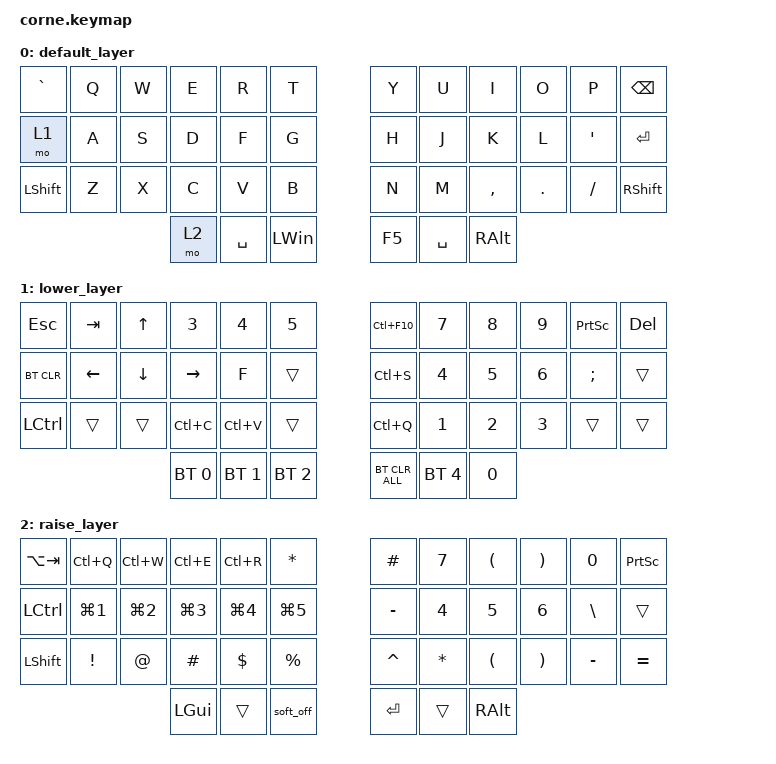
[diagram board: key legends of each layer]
/*
 * Copyright (c) 2020 The ZMK Contributors
 *
 * SPDX-License-Identifier: MIT
 */

#include <behaviors.dtsi>
#include <dt-bindings/zmk/bt.h>
#include <dt-bindings/zmk/keys.h>

/ {
    keymap {
        compatible = "zmk,keymap";

        default_layer {
            // -----------------------------------------------------------------------------------------
            // |  ` |  Q  |  W  |  E  |  R  |  T  |   |  Y  |  U   |  I  |  O  |  P  | BKSP |
            // | cmd1 |  A  |  S  |  D  |  F  |  G  |   |  H  |  J   |  K  |  L  |  '  |  ENT   |
            // | SHFT |  Z  |  X  |  C  |  V  |  B  |   |  N  |  M   |  ,  |  .  |  /  | SHFT  |
            //                    | cmd2 | SPC | WIN |   | F5 | SPC  | ALT |

            bindings = <
&kp GRAVE  &kp Q  &kp W  &kp E  &kp R      &kp T       &kp Y   &kp U      &kp I      &kp O    &kp P     &kp BSPC
&mo 1      &kp A  &kp S  &kp D  &kp F      &kp G       &kp H   &kp J      &kp K      &kp L    &kp SQT   &kp RET
&kp LSHFT  &kp Z  &kp X  &kp C  &kp V      &kp B       &kp N   &kp M      &kp COMMA  &kp DOT  &kp FSLH  &kp RSHFT
                         &mo 2  &kp SPACE  &kp LWIN    &kp F5  &kp SPACE  &kp RALT
            >;
        };

        lower_layer {
            // -----------------------------------------------------------------------------------------
            // |  ESC |  TAB  |  UP  |  3  |  4  |  5  |   |  LC(F10)  |  7  |  8  |  9  |  PSCRN  | DEL |
            // | BTCLR| LFT | DWN | RGT | F | BT2 |   |  | LC(S) |  4  |  5  |  6  |   ;   |
            // | LCTRL |     |     |  COPY  |  PASTE  |     | LC(Q) |   1  |  2   |  3   |     |     |      |
            //                    | GUI |     | SPC |   | ENT |     |  0  |

            bindings = <
&kp ESC     &kp TAB   &kp UP    &kp N3        &kp N4        &kp N5          &kp LC(F10)     &kp N7        &kp N8  &kp N9  &kp PSCRN  &kp DEL
&bt BT_CLR  &kp LEFT  &kp DOWN  &kp RIGHT     &kp F         &trans          &kp LC(S)       &kp N4        &kp N5  &kp N6  &kp SEMI   &trans
&kp LCTRL   &trans    &trans    &kp LC(C)     &kp LC(V)     &trans          &kp LC(Q)       &kp N1        &kp N2  &kp N3  &trans     &trans
                                &bt BT_SEL 0  &bt BT_SEL 1  &bt BT_SEL 2    &bt BT_CLR_ALL  &bt BT_SEL 4  &kp N0
            >;
        };

        raise_layer {
            // -----------------------------------------------------------------------------------------
            // | ALTAB |  !  |  @  |  -  |  =  |  *  |   |  #  |  7  |  8  |  9  |  0  | PSCRN |
            // | CTRL |  WIN1  |  WIN2  |  WIN3  |  WIN4  |  WIN5  |   |  -  |  4  |  5  |  6  |  \  |  `   |
            // | SHFT |     |     |     |     |     |   |  _  |  1  |  2  |  3  | "|" |  ~   |
            //                    | GUI |     | SPC |   | ENT |     | 0 |

            bindings = <
&kp LA(TAB)  &kp LC(Q)        &kp LC(W)   &kp LC(E)   &kp LC(R)   &kp STAR       &kp HASH   &kp N7    &kp LPAR              &kp RPAR               &kp N0     &kp PSCRN
&kp LCTRL    &kp LG(N1)       &kp LG(N2)  &kp LG(N3)  &kp LG(N4)  &kp LG(N5)     &kp MINUS  &kp N4    &kp N5                &kp N6                 &kp BSLH   &trans
&kp LSHFT    &kp EXCLAMATION  &kp AT      &kp HASH    &kp DOLLAR  &kp PERCENT    &kp CARET  &kp STAR  &kp LEFT_PARENTHESIS  &kp RIGHT_PARENTHESIS  &kp MINUS  &kp EQUAL
                                          &kp LGUI    &trans      &soft_off      &kp RET    &trans    &kp RALT
            >;
        };
    };
};
